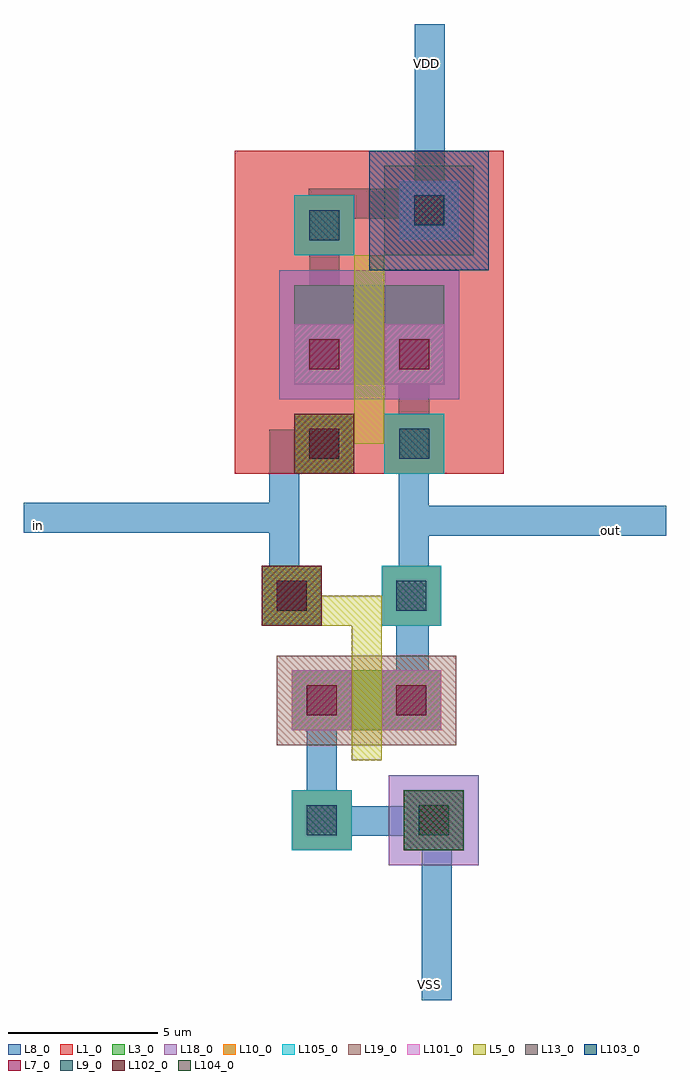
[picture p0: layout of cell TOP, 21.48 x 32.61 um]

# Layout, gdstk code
import gdstk
lib = gdstk.Library(unit=1e-6, precision=1e-08)
def R(c, l, rs):  # rectangles x0, y0, x1, y1
    for r in rs: c.add(gdstk.rectangle(r[:2], r[2:], *l))
L1_0 = (1, 0)
L3_0 = (3, 0)
L5_0 = (5, 0)
L7_0 = (7, 0)
L8_0 = (8, 0)
L9_0 = (9, 0)
L10_0 = (10, 0)
L13_0 = (13, 0)
L18_0 = (18, 0)
L19_0 = (19, 0)
L101_0 = (101, 0)
L102_0 = (102, 0)
L103_0 = (103, 0)
L104_0 = (104, 0)
L105_0 = (105, 0)

top = lib.new_cell('TOP')
R(top, L1_0, [(3.54,7.77,12.54,18.57), (8.04,14.57,12.04,18.57)])
R(top, L3_0, [(9.2,-4.8,11.2,-2.8), (5.45,-0.8,7.45,1.2), (5.45,-0.8,10.45,1.2), (8.45,-0.8,10.45,1.2), (5.54,10.77,10.54,14.07), (5.54,10.77,7.54,12.77), (8.54,10.77,10.54,12.77), (9.04,15.57,11.04,17.57)])
R(top, L5_0, [(4.45,2.7,6.45,4.7), (5.54,7.77,7.54,9.77)])
R(top, L7_0, [(9.7,-4.3,10.7,-3.3), (5.95,-0.3,6.95,0.7), (8.95,-0.3,9.95,0.7), (4.95,3.2,5.95,4.2), (6.04,8.27,7.04,9.27), (6.04,11.27,7.04,12.27), (9.04,11.27,10.04,12.27), (9.54,16.07,10.54,17.07)])
R(top, L8_0, [(5.45,-4.8,7.45,-2.8), (9.2,-4.8,11.2,-2.8), (9.2,-4.8,11.2,-2.8), (5.45,-0.8,7.45,1.2), (8.45,-0.8,10.45,1.2), (4.45,2.7,6.45,4.7), (4.45,2.7,6.45,4.7), (8.45,2.7,10.45,4.7), (5.54,7.77,7.54,9.77), (5.54,7.77,7.54,9.77), (8.54,7.77,10.54,9.77), (5.54,10.77,7.54,12.77), (8.54,10.77,10.54,12.77), (5.54,15.07,7.54,17.07), (9.04,15.57,11.04,17.57), (9.04,15.57,11.04,17.57)])
R(top, L9_0, [(5.95,-4.3,6.95,-3.3), (9.7,-4.3,10.7,-3.3), (4.95,3.2,5.95,4.2), (8.95,3.2,9.95,4.2), (6.04,8.27,7.04,9.27), (9.04,8.27,10.04,9.27), (6.04,15.57,7.04,16.57), (9.54,16.07,10.54,17.07)])
R(top, L10_0, [(5.45,-4.8,7.45,-2.8), (9.2,-4.8,11.2,-2.8), (4.45,2.7,6.45,4.7), (8.45,2.7,10.45,4.7), (5.54,7.77,7.54,9.77), (8.54,7.77,10.54,9.77), (5.54,15.07,7.54,17.07), (9.04,15.57,11.04,17.57)])
R(top, L13_0, [(5.95,-4.3,6.95,-3.3), (9.7,-4.3,10.7,-3.3), (9.7,-4.3,10.7,-3.3), (5.95,-0.3,6.95,0.7), (8.95,-0.3,9.95,0.7), (4.95,3.2,5.95,4.2), (4.95,3.2,5.95,4.2), (8.95,3.2,9.95,4.2), (6.04,8.27,7.04,9.27), (6.04,8.27,7.04,9.27), (9.04,8.27,10.04,9.27), (6.04,11.27,7.04,12.27), (9.04,11.27,10.04,12.27), (6.04,15.57,7.04,16.57), (9.54,16.07,10.54,17.07), (9.54,16.07,10.54,17.07)])
R(top, L18_0, [(8.7,-5.3,11.7,-2.3), (5.04,10.27,11.04,14.57)])
R(top, L19_0, [(4.95,-1.3,10.95,1.7), (8.54,15.07,11.54,18.07)])
R(top, L101_0, [(9.2,-4.8,11.2,-2.8), (5.45,-0.8,7.45,1.2), (8.45,-0.8,10.45,1.2), (5.54,10.77,7.54,12.77), (8.54,10.77,10.54,12.77), (9.04,15.57,11.04,17.57)])
R(top, L102_0, [(4.45,2.7,6.45,4.7), (5.54,7.77,7.54,9.77)])
R(top, L103_0, [(8.04,14.57,12.04,18.57)])
R(top, L104_0, [(9.2,-4.8,11.2,-2.8)])
R(top, L105_0, [(5.45,-4.8,7.45,-2.8), (9.2,-4.8,11.2,-2.8), (4.45,2.7,6.45,4.7), (8.45,2.7,10.45,4.7), (5.54,7.77,7.54,9.77), (8.54,7.77,10.54,9.77), (5.54,15.07,7.54,17.07), (9.04,15.57,11.04,17.57)])
top.add(gdstk.FlexPath([(6.54,10.77),(6.54,14.07)], 2, ends="flush", simple_path=True, layer=8, datatype=0))  # L8_0
top.add(gdstk.FlexPath([(9.54,10.77),(9.54,14.07)], 2, ends="flush", simple_path=True, layer=8, datatype=0))  # L8_0
top.add(gdstk.FlexPath([(6.54,13.07),(6.54,16.07)], 1, ends="flush", simple_path=True, layer=8, datatype=0))  # L8_0
top.add(gdstk.FlexPath([(9.54,8.77),(9.54,11.77)], 1, ends="flush", simple_path=True, layer=8, datatype=0))  # L8_0
top.add(gdstk.FlexPath([(6.45,-0.8),(6.45,1.2)], 2, ends="flush", simple_path=True, layer=8, datatype=0))  # L8_0
top.add(gdstk.FlexPath([(9.45,-0.8),(9.45,1.2)], 2, ends="flush", simple_path=True, layer=8, datatype=0))  # L8_0
top.add(gdstk.FlexPath([(6.45,-3.8),(6.45,0.2)], 1, ends="flush", simple_path=True, layer=8, datatype=0))  # L8_0
top.add(gdstk.FlexPath([(9.45,-0.8),(9.45,3.2)], 1, ends="flush", simple_path=True, layer=8, datatype=0))  # L8_0
top.add(gdstk.FlexPath([(9.53,11.8),(9.53,0.08)], 1, ends="flush", simple_path=True, layer=8, datatype=0))  # L8_0
top.add(gdstk.FlexPath([(7.04,8.74),(5.2,8.74),(5.2,3.24)], 1, ends="flush", simple_path=True, layer=8, datatype=0))  # L8_0
top.add(gdstk.FlexPath([(6.52,15.46),(6.52,16.79),(10.06,16.79),(10.06,22.8)], 1, ends="flush", simple_path=True, layer=8, datatype=0))  # L8_0
top.add(gdstk.FlexPath([(5.2,6.3),(-3.51,6.3)], 1, ends="flush", simple_path=True, layer=8, datatype=0))  # L8_0
top.add(gdstk.FlexPath([(9.49,6.2),(17.97,6.2)], 1, ends="flush", simple_path=True, layer=8, datatype=0))  # L8_0
top.add(gdstk.FlexPath([(6.36,-3.83),(10.3,-3.83),(10.3,-9.81)], 1, ends="flush", simple_path=True, layer=8, datatype=0))  # L8_0
top.add(gdstk.FlexPath([(8.04,10.77),(8.04,14.07)], 1, ends=(1, 1), simple_path=True, layer=5, datatype=0))  # L5_0
top.add(gdstk.FlexPath([(6.54,9.27),(8.04,9.27),(8.04,9.77)], 1, ends="flush", simple_path=True, layer=5, datatype=0))  # L5_0
top.add(gdstk.FlexPath([(7.95,-0.8),(7.95,1.2)], 1, ends=(1, 1), simple_path=True, layer=5, datatype=0))  # L5_0
top.add(gdstk.FlexPath([(5.45,3.2),(7.95,3.2),(7.95,2.2)], 1, ends="flush", simple_path=True, layer=5, datatype=0))  # L5_0
top.add(gdstk.Label('VDD', (9.94,21.48), layer=8, texttype=0))
top.add(gdstk.Label('in', (-3.02,6.04), layer=8, texttype=0))
top.add(gdstk.Label('out', (16.1,5.88), layer=8, texttype=0))
top.add(gdstk.Label('VSS', (10.05,-9.28), layer=8, texttype=0))

lib.write_gds('TOP.gds')
